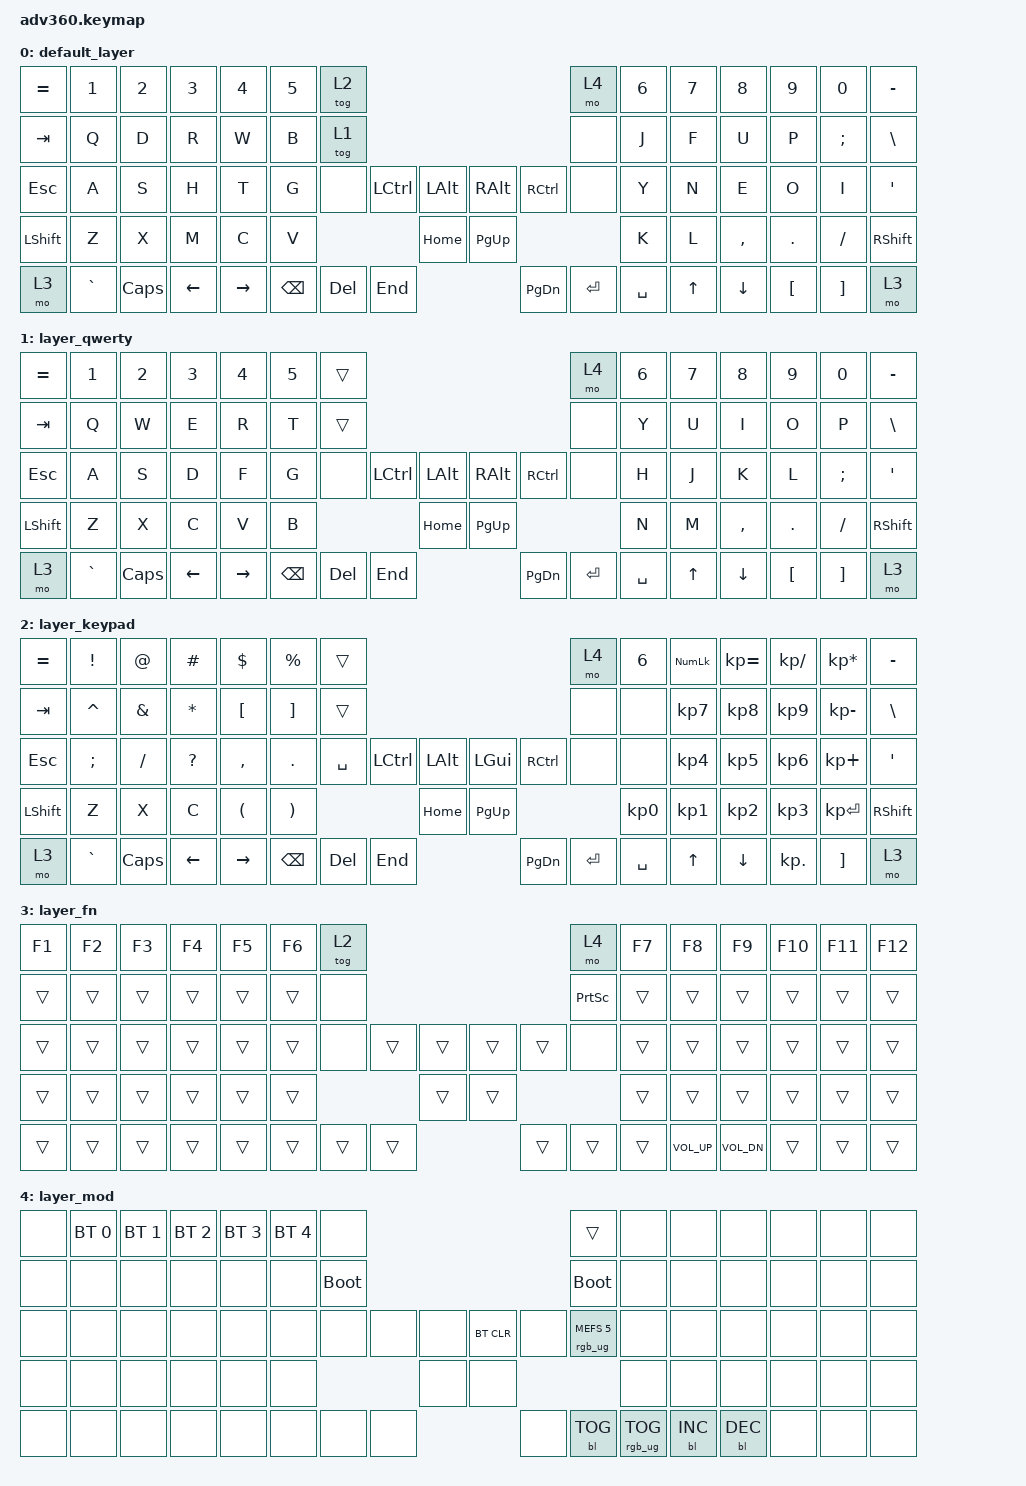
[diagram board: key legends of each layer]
/*
 * Copyright (c) 2020 The ZMK Contributors
 *
 * SPDX-License-Identifier: MIT
 */
/* THIS FILE WAS GENERATED!
 *
 * This file was generated automatically. You may or may not want to
 * edit it directly.
 */

#include <behaviors.dtsi>
#include <dt-bindings/zmk/backlight.h>
#include <dt-bindings/zmk/bt.h>
#include <dt-bindings/zmk/keys.h>
#include <dt-bindings/zmk/rgb.h>

/ {
    behaviors {
        #include "macros.dtsi"

        hm: homerow_mods {
            compatible = "zmk,behavior-hold-tap";
            label = "HOMEROW_MODS";
            #binding-cells = <2>;
            tapping-term-ms = <200>;
            quick_tap_ms = <175>;
            flavor = "tap-preferred";
            bindings =
                <&kp>,
                <&kp>;
        };
    };

    keymap {
        compatible = "zmk,keymap";

        default_layer {
            bindings = <
&kp EQUAL     &kp N1    &kp N2    &kp N3     &kp N4  &kp N5    &tog 2                                                     &mo 4  &kp N6  &kp N7     &kp N8    &kp N9    &kp N0  &kp MINUS
  &kp TAB      &kp Q     &kp D     &kp R      &kp W   &kp B    &tog 1                                                     &none   &kp J   &kp F      &kp U     &kp P  &kp SEMI   &kp BSLH
  &kp ESC      &kp A     &kp S     &kp H      &kp T   &kp G     &none  &kp LCTRL  &kp LALT       &kp RALT  &kp RCTRL      &none   &kp Y   &kp N      &kp E     &kp O     &kp I    &kp SQT
&kp LSHFT      &kp Z     &kp X     &kp M      &kp C   &kp V                       &kp HOME      &kp PG_UP                         &kp K   &kp L  &kp COMMA   &kp DOT  &kp FSLH  &kp RSHFT
    &mo 3  &kp GRAVE  &kp CAPS  &kp LEFT  &kp RIGHT          &kp BSPC    &kp DEL   &kp END      &kp PG_DN  &kp ENTER  &kp SPACE          &kp UP   &kp DOWN  &kp LBKT  &kp RBKT      &mo 3
            >;
        };

        layer_qwerty {
            bindings = <
     &kp EQUAL     &kp N1    &kp N2          &kp N3           &kp N4  &kp N5    &trans                                                         &mo 4  &kp N6        &kp N7          &kp N8            &kp N9             &kp N0        &kp MINUS
       &kp TAB      &kp Q     &kp W           &kp E            &kp R   &kp T    &trans                                                         &none   &kp Y         &kp U           &kp I             &kp O              &kp P    &kp BACKSLASH
       &kp ESC      &kp A     &kp S           &kp D            &kp F   &kp G     &none  &kp LCTRL  &kp LEFT_ALT       &kp RALT  &kp RCTRL      &none   &kp H         &kp J           &kp K             &kp L           &kp SEMI         &kp APOS
&kp LEFT_SHIFT      &kp Z     &kp X           &kp C            &kp V   &kp B                           &kp HOME      &kp PG_UP                         &kp N         &kp M       &kp COMMA        &kp PERIOD          &kp SLASH  &kp RIGHT_SHIFT
         &mo 3  &kp GRAVE  &kp CAPS  &kp LEFT_ARROW  &kp RIGHT_ARROW          &kp BSPC    &kp DEL       &kp END      &kp PG_DN  &kp ENTER  &kp SPACE          &kp UP_ARROW  &kp DOWN_ARROW  &kp LEFT_BRACKET  &kp RIGHT_BRACKET            &mo 3
            >;
        };

        layer_keypad {
            bindings = <
&kp EQUAL       &kp EXCL    &kp AT_SIGN     &kp POUND            &kp DOLLAR            &kp PERCENT     &trans                                                     &mo 4     &kp N6  &kp KP_NUM  &kp KP_EQUAL  &kp KP_DIVIDE  &kp KP_MULTIPLY  &kp MINUS
  &kp TAB      &kp CARET  &kp AMPERSAND  &kp ASTERISK      &kp LEFT_BRACKET      &kp RIGHT_BRACKET     &trans                                                     &none      &none   &kp KP_N7     &kp KP_N8      &kp KP_N9     &kp KP_MINUS   &kp BSLH
  &kp ESC  &kp SEMICOLON      &kp SLASH  &kp QUESTION             &kp COMMA             &kp PERIOD  &kp SPACE  &kp LCTRL  &kp LALT       &kp LGUI  &kp RCTRL      &none      &none   &kp KP_N4     &kp KP_N5      &kp KP_N6      &kp KP_PLUS    &kp SQT
&kp LSHFT          &kp Z          &kp X         &kp C  &kp LEFT_PARENTHESIS  &kp RIGHT_PARENTHESIS                        &kp HOME      &kp PG_UP                        &kp KP_N0   &kp KP_N1     &kp KP_N2      &kp KP_N3     &kp KP_ENTER  &kp RSHFT
    &mo 3      &kp GRAVE       &kp CAPS      &kp LEFT             &kp RIGHT                          &kp BSPC    &kp DEL   &kp END      &kp PG_DN  &kp ENTER  &kp SPACE                 &kp UP      &kp DOWN     &kp KP_DOT         &kp RBKT      &mo 3
            >;
        };

        layer_fn {
            bindings = <
&kp F1  &kp F2  &kp F3  &kp F4  &kp F5  &kp F6  &tog 2                                                &mo 4  &kp F7        &kp F8        &kp F9  &kp F10  &kp F11  &kp F12
&trans  &trans  &trans  &trans  &trans  &trans   &none                                      &kp PRINTSCREEN  &trans        &trans        &trans   &trans   &trans   &trans
&trans  &trans  &trans  &trans  &trans  &trans   &none  &trans  &trans      &trans  &trans            &none  &trans        &trans        &trans   &trans   &trans   &trans
&trans  &trans  &trans  &trans  &trans  &trans                  &trans      &trans                           &trans        &trans        &trans   &trans   &trans   &trans
&trans  &trans  &trans  &trans  &trans          &trans  &trans  &trans      &trans  &trans           &trans          &kp C_VOL_UP  &kp C_VOL_DN   &trans   &trans   &trans
            >;
        };

        layer_mod {
            bindings = <
&none  &bt BT_SEL 0  &bt BT_SEL 1  &bt BT_SEL 2  &bt BT_SEL 3  &bt BT_SEL 4        &none                                                            &trans  &none       &none       &none  &none  &none  &none
&none         &none         &none         &none         &none         &none  &bootloader                                                       &bootloader  &none       &none       &none  &none  &none  &none
&none         &none         &none         &none         &none         &none        &none  &none  &none      &bt BT_CLR       &none  &rgb_ug RGB_MEFS_CMD 5  &none       &none       &none  &none  &none  &none
&none         &none         &none         &none         &none         &none                      &none           &none                                      &none       &none       &none  &none  &none  &none
&none         &none         &none         &none         &none                      &none  &none  &none           &none  &bl BL_TOG         &rgb_ug RGB_TOG         &bl BL_INC  &bl BL_DEC  &none  &none  &none
            >;
        };
    };
};
